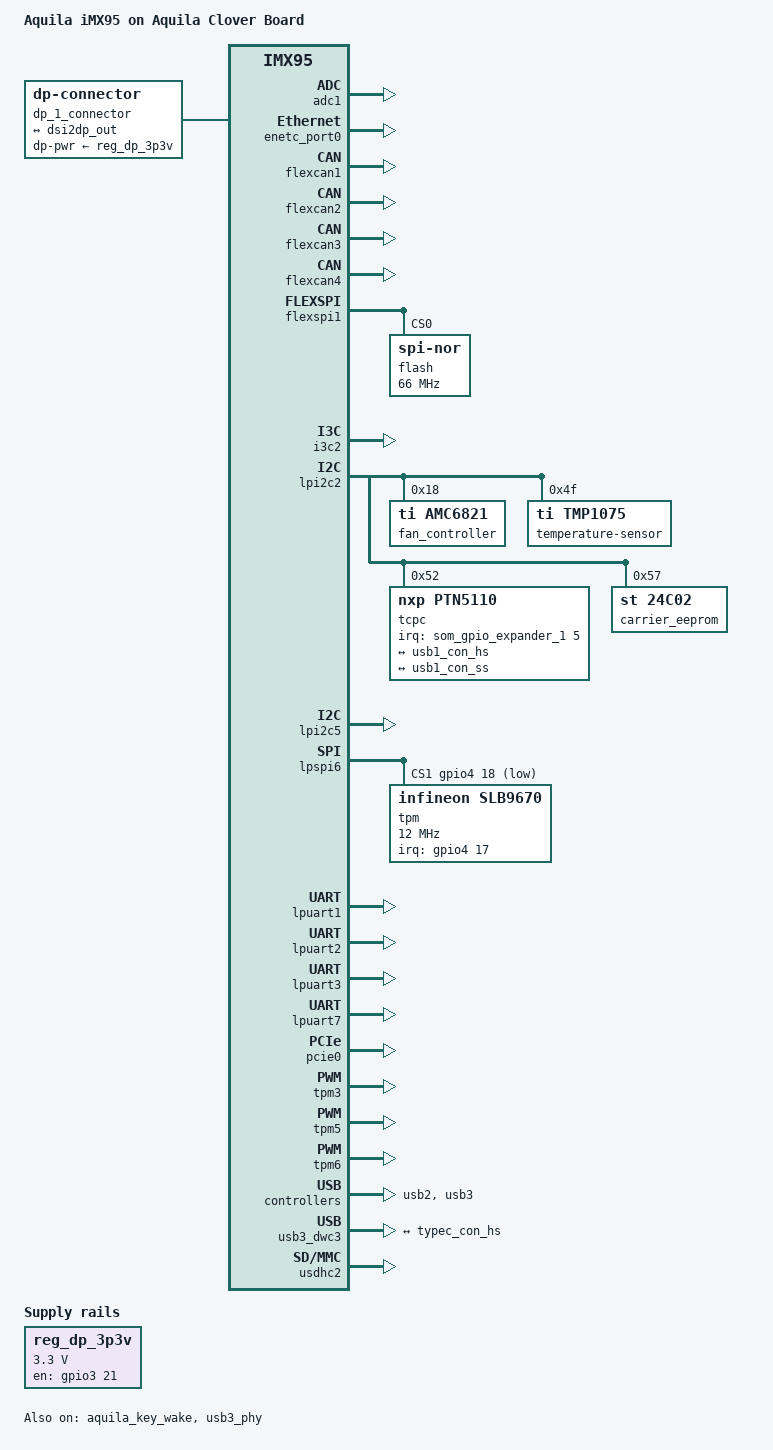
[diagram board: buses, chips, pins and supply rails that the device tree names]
// SPDX-License-Identifier: GPL-2.0-or-later OR MIT
/*
 * Copyright (c) Toradex
 *
 * https://www.toradex.com/computer-on-modules/aquila-arm-family/nxp-imx95
 * https://www.toradex.com/products/carrier-board/clover
 */

/dts-v1/;

#include <dt-bindings/pwm/pwm.h>
#include <dt-bindings/usb/pd.h>
#include "imx95-aquila.dtsi"

/ {
	model = "Aquila iMX95 on Aquila Clover Board";
	compatible = "toradex,aquila-imx95-clover",
		     "toradex,aquila-imx95",
		     "fsl,imx95";

	aliases {
		eeprom1 = &carrier_eeprom;
	};

	dp_1_connector: dp0-connector {
		compatible = "dp-connector";
		dp-pwr-supply = <&reg_dp_3p3v>;
		type = "full-size";

		port {
			dp_1_connector_in: endpoint {
				remote-endpoint = <&dsi2dp_out>;
			};
		};
	};

	reg_dp_3p3v: regulator-dp-3p3v {
		compatible = "regulator-fixed";
		pinctrl-names = "default";
		pinctrl-0 = <&pinctrl_gpio_21_dp>;
		/* Aquila GPIO_21_DP */
		gpios = <&gpio3 21 GPIO_ACTIVE_HIGH>;
		enable-active-high;
		regulator-max-microvolt = <3300000>;
		regulator-min-microvolt = <3300000>;
		regulator-name = "DP_3V3";
		startup-delay-us = <10000>;
	};
};

/* Aquila ADC_[1-4] */
&adc1 {
	status = "okay";
};

/* Aquila CTRL_WAKE1_MICO# */
&aquila_key_wake {
	status = "okay";
};

&dsi2dp_out {
	remote-endpoint = <&dp_1_connector_in>;
};

/* Aquila ETH_1 */
&enetc_port0 {
	status = "okay";
};

/* Aquila CAN_1 */
&flexcan1 {
	status = "okay";
};

/* Aquila CAN_2 */
&flexcan2 {
	status = "okay";
};

/* Aquila CAN_3 */
&flexcan3 {
	status = "okay";
};

/* Aquila CAN_4 */
&flexcan4 {
	status = "okay";
};

/* Aquila QSPI_1 */
&flexspi1 {
	pinctrl-0 = <&pinctrl_flexspi1_4bit>,
		    <&pinctrl_qspi_cs1>;

	status = "okay";

	flash@0 {
		compatible = "jedec,spi-nor";
		reg = <0x0>;
		spi-max-frequency = <66000000>;
		spi-rx-bus-width = <4>;
		spi-tx-bus-width = <4>;
	};
};

&gpio4 {
	pinctrl-names = "default";
	pinctrl-0 = <&pinctrl_gpio_1>,
		    <&pinctrl_gpio_2>,
		    <&pinctrl_gpio_3>,
		    <&pinctrl_gpio_4>;
};

/* Aquila I2C_2 */
&i3c2 {
	status = "okay";
};

/* Aquila I2C_1 */
&lpi2c2 {
	status = "okay";

	fan_controller: fan@18 {
		compatible = "ti,amc6821";
		reg = <0x18>;
		#pwm-cells = <2>;

		fan {
			cooling-levels = <255>;
			pwms = <&fan_controller 40000 PWM_POLARITY_INVERTED>;
		};
	};

	temperature-sensor@4f {
		compatible = "ti,tmp1075";
		reg = <0x4f>;
	};

	/* USB-C OTG (TCPC USB PD PHY) */
	tcpc@52 {
		compatible = "nxp,ptn5110", "tcpci";
		reg = <0x52>;
		interrupt-parent = <&som_gpio_expander_1>;
		interrupts = <5 IRQ_TYPE_EDGE_FALLING>;

		connector {
			compatible = "usb-c-connector";
			data-role = "dual";
			op-sink-microwatt = <0>;
			power-role = "dual";
			self-powered;
			sink-pdos = <PDO_FIXED(5000, 0, PDO_FIXED_USB_COMM)>;
			source-pdos = <PDO_FIXED(5000, 3000, PDO_FIXED_USB_COMM)>;
			try-power-role = "sink";

			ports {
				#address-cells = <1>;
				#size-cells = <0>;

				port@0 {
					reg = <0>;

					typec_con_hs: endpoint {
						remote-endpoint = <&usb1_con_hs>;
					};
				};

				port@1 {
					reg = <1>;

					typec_con_ss: endpoint {
						remote-endpoint = <&usb1_con_ss>;
					};
				};
			};
		};
	};

	carrier_eeprom: eeprom@57 {
		compatible = "st,24c02", "atmel,24c02";
		reg = <0x57>;
		pagesize = <16>;
	};
};

/* Aquila I2C_6 */
&lpi2c5 {
	status = "okay";
};

/* Aquila SPI_1 */
&lpspi6 {
	pinctrl-names = "default";
	pinctrl-0 = <&pinctrl_lpspi6 &pinctrl_gpio_5>;
	cs-gpios = <&gpio2 0 GPIO_ACTIVE_LOW>, <&gpio4 18 GPIO_ACTIVE_LOW>;

	status = "okay";

	tpm@1 {
		compatible = "infineon,slb9670", "tcg,tpm_tis-spi";
		reg = <1>;
		pinctrl-names = "default";
		pinctrl-0 = <&pinctrl_gpio_6>;
		interrupt-parent = <&gpio4>;
		interrupts = <17 IRQ_TYPE_LEVEL_LOW>;
		spi-max-frequency = <12000000>;
	};
};

/* Aquila UART_3, used as the Linux Console */
&lpuart1 {
	status = "okay";
};

/* Aquila UART_4 */
&lpuart2 {
	status = "okay";
};

/* Aquila UART_1 */
&lpuart3 {
	status = "okay";
};

/* Aquila UART_2 */
&lpuart7 {
	status = "okay";
};

/* Aquila PCIE_1 */
&pcie0 {
	status = "okay";
};

/* Aquila PWM_1 */
&tpm3 {
	status = "okay";
};

/* Aquila PWM_3_DSI and PWM_4_DP */
&tpm5 {
	status = "okay";
};

/* Aquila PWM_2 */
&tpm6 {
	status = "okay";
};

/* Aquila USB_2, optional Bluetooth USB */
&usb2 {
	status = "okay";
};

/* Aquila USB_1 */
&usb3 {
	status = "okay";
};

&usb3_dwc3 {
	status = "okay";

	port {
		usb1_con_hs: endpoint {
			remote-endpoint = <&typec_con_hs>;
		};
	};
};

&usb3_phy {
	orientation-switch;

	status = "okay";

	port {
		usb1_con_ss: endpoint {
			remote-endpoint = <&typec_con_ss>;
		};
	};
};

/* Aquila SD_1 */
&usdhc2 {
	status = "okay";
};
